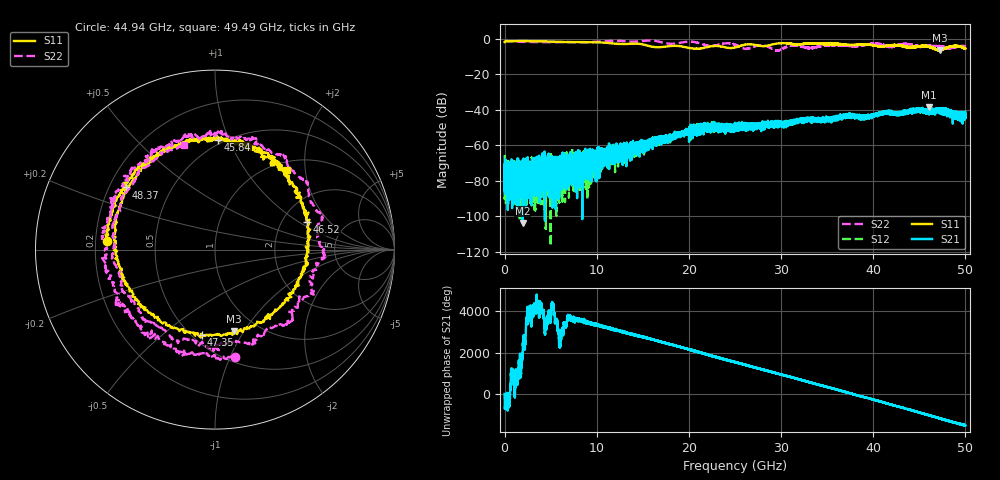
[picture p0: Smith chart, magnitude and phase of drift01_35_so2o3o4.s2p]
!Created with skrf (http://scikit-rf.org).
# Hz S RI R 50.0
!freq ReS11 ImS11 ReS21 ImS21 ReS12 ImS12 ReS22 ImS22
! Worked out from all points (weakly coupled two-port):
!   10001 points, 300 kHz to 50 GHz, reference 50 ohm
!   highest |S21| = -38.70 dB at 46.07 GHz (marker M1); lowest = -103.7 dB at 1.95 GHz (marker M2)
!   lowest |S11| = -6.7 dB at 47.2 GHz (marker M3), VSWR 2.74, Z = 39 - j45 ohm
!   |S11| at or under -10 dB: nowhere
!   |S22| runs from -6.9 to -1.0 dB; largest |S21 - S12| = 0.004
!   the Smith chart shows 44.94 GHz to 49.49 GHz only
!   S11 on the Smith chart (normalised r, x): 44.94 GHz: 0.25, +0.04; 45.84 GHz: 0.47, +0.91; 46.52 GHz: 2.73, +1.17; 47.35 GHz: 0.56, -0.69; 48.37 GHz: 0.27, +0.29; 49.49 GHz: 1.16, +1.60
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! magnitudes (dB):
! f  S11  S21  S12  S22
! 300 kHz  -2.1  -72.0  -65.5  -1.3
! 260.3 MHz  -1.4  -76.7  -78.4  -1.4
! 1.95 GHz  -1.4  -103.7  -83.5  -1.9
! 6.725 GHz  -1.9  -68.2  -77.4  -1.9
! 8.335 GHz  -1.9  -67.0  -69.0  -2.1
! 16.67 GHz  -4.8  -56.2  -58.6  -1.6
! 21.8 GHz  -5.0  -48.9  -50.5  -3.7
! 25 GHz  -5.0  -47.3  -50.3  -3.4
! 28.08 GHz  -4.3  -49.1  -50.2  -3.8
! 29.52 GHz  -2.8  -47.0  -47.5  -6.8
! 31.29 GHz  -3.1  -46.8  -46.2  -4.0
! 33.34 GHz  -2.6  -47.5  -45.5  -5.4
! 41.67 GHz  -3.9  -42.3  -41.4  -4.6
! 44.94 GHz  -4.3  -40.1  -39.7  -4.3
! 45.84 GHz  -4.3  -40.3  -41.2  -4.2
! 46.07 GHz  -4.5  -38.7  -41.3  -4.0
! 46.52 GHz  -5.4  -41.4  -41.0  -4.1
! 47.2 GHz  -6.7  -40.8  -41.1  -4.4
! 47.35 GHz  -6.4  -40.3  -40.1  -4.6
! 48.37 GHz  -4.4  -42.5  -42.8  -5.5
! 49.49 GHz  -4.5  -43.1  -44.1  -4.3
! 50 GHz  -5.6  -42.9  -43.4  -4.3
